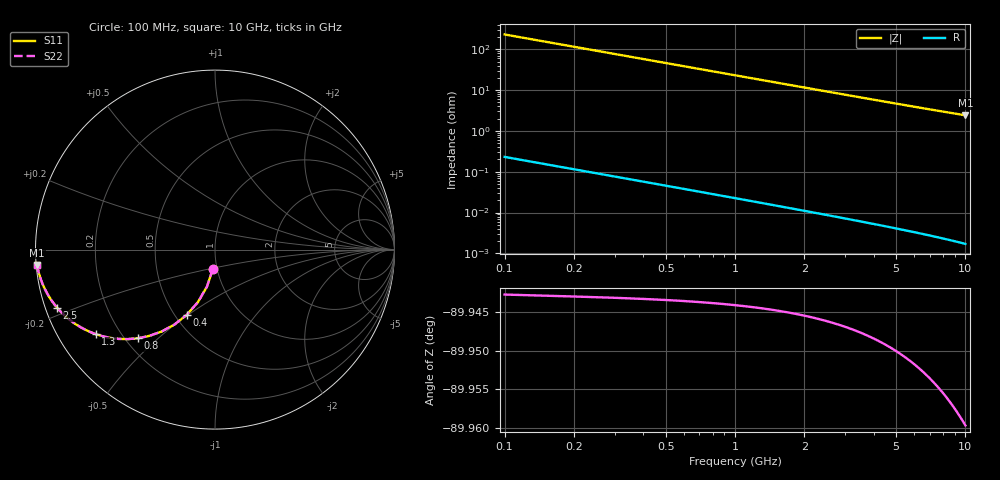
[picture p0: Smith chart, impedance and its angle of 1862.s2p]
# Hz S RI R 50.00
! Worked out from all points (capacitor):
!   100 points, 100 MHz to 10 GHz, reference 50 ohm
!   read as one part in shunt: C = 6.88 pF near 100 MHz
!   lowest |Z| = 2.42 ohm at 10 GHz (marker M1)
!   S11 on the Smith chart (normalised r, x): 100 MHz: 0.96, -0.21; 400 MHz: 0.57, -0.49; 800 MHz: 0.25, -0.43; 1.3 GHz: 0.11, -0.32; 2.5 GHz: 0.03, -0.18; 10 GHz: 0.00, -0.04
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1e8  -0.0116 -0.1068  0.9883 -0.1069  0.9883 -0.1069  -0.0116 -0.1068
2e8  -0.0448 -0.2064  0.9551 -0.2066  0.9551 -0.2066  -0.0448 -0.2064
3e8  -0.0954 -0.2931  0.9046 -0.2934  0.9046 -0.2934  -0.0954 -0.2931
4e8  -0.1577 -0.3638  0.8422 -0.3642  0.8422 -0.3642  -0.1577 -0.3638
5e8  -0.2263 -0.4177  0.7736 -0.4182  0.7736 -0.4182  -0.2263 -0.4177
6e8  -0.2963 -0.4558  0.7037 -0.4564  0.7037 -0.4564  -0.2963 -0.4558
7e8  -0.3642 -0.4803  0.6357 -0.4811  0.6357 -0.4811  -0.3642 -0.4803
8e8  -0.4279 -0.4939  0.572 -0.4947  0.572 -0.4947  -0.4279 -0.4939
1e9  -0.5388 -0.4975  0.4612 -0.4985  0.4612 -0.4985  -0.5388 -0.4975
1.1e9  -0.5856 -0.4915  0.4143 -0.4927  0.4143 -0.4927  -0.5856 -0.4915
1.3e9  -0.6636 -0.4713  0.3363 -0.4726  0.3363 -0.4726  -0.6636 -0.4713
1.5e9  -0.7242 -0.4456  0.2758 -0.4472  0.2758 -0.4472  -0.7242 -0.4456
1.8e9  -0.7908 -0.4053  0.2092 -0.4072  0.2092 -0.4072  -0.7908 -0.4053
2.1e9  -0.8372 -0.3676  0.1628 -0.3698  0.1628 -0.3698  -0.8372 -0.3676
2.5e9  -0.8793 -0.3239  0.1207 -0.3266  0.1207 -0.3266  -0.8793 -0.3239
2.9e9  -0.9074 -0.2878  0.0926 -0.2909  0.0926 -0.2909  -0.9074 -0.2878
3.4e9  -0.9308 -0.2513  0.0691 -0.2549  0.0691 -0.2549  -0.9308 -0.2513
4.2e9  -0.9536 -0.2076  0.0464 -0.2121  0.0464 -0.2121  -0.9536 -0.2076
5.1e9  -0.968 -0.1725  0.0319 -0.178  0.0319 -0.178  -0.968 -0.1725
6.7e9  -0.9812 -0.1313  0.0187 -0.1385  0.0187 -0.1385  -0.9812 -0.1313
8.4e9  -0.988 -0.1034  0.0119 -0.1125  0.0119 -0.1125  -0.988 -0.1034
1e10  -0.9916 -0.0851  0.00832 -0.0961  0.00832 -0.0961  -0.9916 -0.0851
